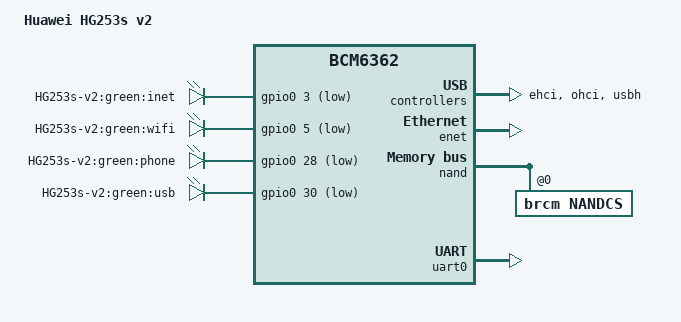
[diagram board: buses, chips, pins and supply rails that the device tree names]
// SPDX-License-Identifier: GPL-2.0+
/*
 * Copyright (C) 2020 Álvaro Fernández Rojas <noltari@gmail.com>
 */

/dts-v1/;

#include "brcm,bcm6362.dtsi"

/ {
	model = "Huawei HG253s v2";
	compatible = "huawei,hg253s-v2", "brcm,bcm6362";

	aliases {
		serial0 = &uart0;
	};

	chosen {
		stdout-path = "serial0:115200n8";
	};

	gpio-leds {
		compatible = "gpio-leds";

		inet_green {
			label = "HG253s-v2:green:inet";
			gpios = <&gpio0 3 GPIO_ACTIVE_LOW>;
		};

		wifi_green {
			label = "HG253s-v2:green:wifi";
			gpios = <&gpio0 5 GPIO_ACTIVE_LOW>;
		};

		phone_green {
			label = "HG253s-v2:green:phone";
			gpios = <&gpio0 28 GPIO_ACTIVE_LOW>;
		};

		usb_green {
			label = "HG253s-v2:green:usb";
			gpios = <&gpio0 30 GPIO_ACTIVE_LOW>;
		};
	};
};

&ehci {
	status = "okay";
};

&enet {
	status = "okay";
	brcm,rgmii-timing;

	port@4 {
		compatible = "brcm,enetsw-port";
		reg = <4>;
		label = "rgmii";
		brcm,phy-id = <0xff>;
		speed = <1000>;
		full-duplex;
		bypass-link;
	};
};

&gpio0 {
	status = "okay";
};

&gpio1 {
	status = "okay";
};

&nand {
	status = "okay";

	nandcs@0 {
		compatible = "brcm,nandcs";
		reg = <0>;
		nand-ecc-strength = <15>;
		nand-ecc-step-size = <512>;
		/* nand-on-flash-bbt; */
		brcm,nand-oob-sector-size = <64>;
	};
};

&ohci {
	status = "okay";
};

&uart0 {
	u-boot,dm-pre-reloc;
	status = "okay";
};

&usbh {
	status = "okay";
};
